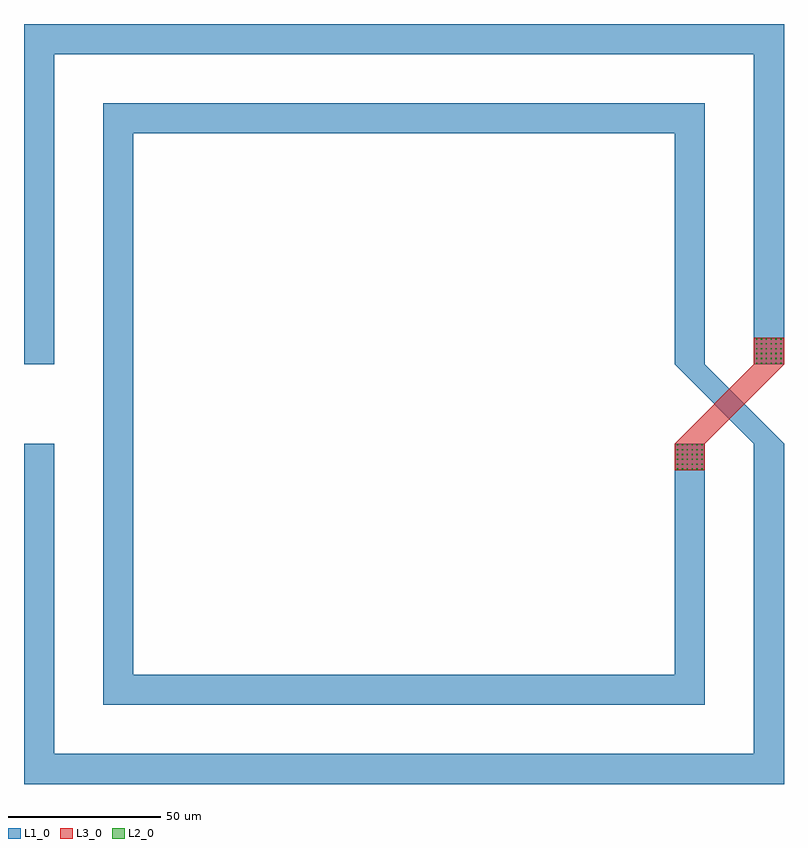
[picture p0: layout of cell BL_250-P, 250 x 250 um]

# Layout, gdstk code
import gdstk
lib = gdstk.Library(unit=1e-6, precision=1e-09)
def R(c, l, rs):  # rectangles x0, y0, x1, y1
    for r in rs: c.add(gdstk.rectangle(r[:2], r[2:], *l))
def A(c, l, x, y, w, h, nx, ny, dx, dy):  # array of equal rectangles
    R(c, l, [(x+i*dx, y+j*dy, x+i*dx+w, y+j*dy+h) for i in range(nx) for j in range(ny)])
def P(c, l, *ps):  # polygons
    for p in ps: c.add(gdstk.Polygon(p, *l))
L1_0 = (1, 0)
L2_0 = (2, 0)
L3_0 = (3, 0)

bl_250_p = lib.new_cell('BL_250-P')
R(bl_250_p, L1_0, [(314,216.19,324,224.99), (126,225,136,238), (126,238,136,251), (340,251,350,259.8)])
P(bl_250_p, L1_0, [(100,251),(100,363),(110,353),(110,251)],
  [(110,353),(100,363),(350,363),(340,353)],
  [(340,251),(340,353),(350,363),(350,251)],
  [(324,139),(314,149),(314,225),(324,225)],
  [(126,139),(136,149),(314,149),(324,139)],
  [(126,139),(126,225),(136,225),(136,149)],
  [(126,251),(126,337),(136,327),(136,251)],
  [(136,327),(126,337),(324,337),(314,327)],
  [(314,251),(314,327),(324,337),(324,251)],
  [(340,225),(314,251),(324,251),(350,225)],
  [(350,113),(340,123),(340,225),(350,225)],
  [(100,113),(110,123),(340,123),(350,113)],
  [(100,113),(100,225),(110,225),(110,123)])
A(bl_250_p, L2_0, 314.8, 216.39, 0.4, 0.4, 6, 6, 1.6, 1.6)
A(bl_250_p, L2_0, 340.8, 251.2, 0.4, 0.4, 6, 6, 1.6, 1.6)
R(bl_250_p, L3_0, [(314,216.19,324,224.99), (340,251,350,259.8)])
P(bl_250_p, L3_0, [(314,225),(340,251),(350,251),(324,225)])

lib.write_gds('BL_250-P.gds')
